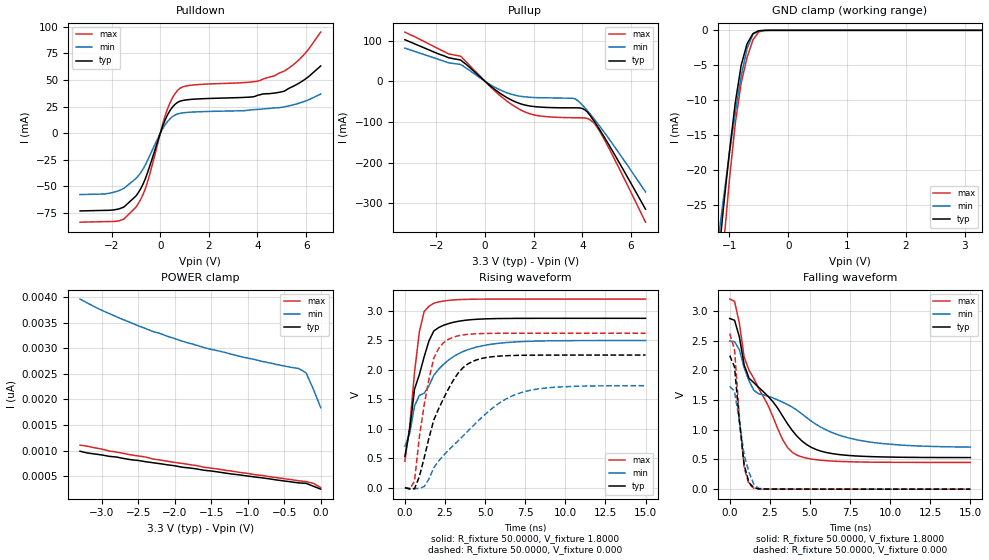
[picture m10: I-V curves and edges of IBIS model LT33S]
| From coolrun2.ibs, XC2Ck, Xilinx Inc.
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|   Model LT33S
[Model]   LT33S
Model_type   I/O
Polarity   Inverting
Enable   Active-High
Vinl =   0.8000V
Vinh =   2.0000V
Vmeas =   1.650V
Cref =  35.0000pF
Rref =  138.000
Vref =  1.65000V
C_comp   1.4810pF   0.9482pF   2.0140pF
[Temperature Range]   25.0000   100.0000   0.000
[Voltage Range]   3.3000V   3.0000V   3.6000V
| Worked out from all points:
|   slope of the pulldown table from 0 to 0.495 V, typ, clamps not added: 20.3 ohm
|   slope of the pullup table from 0 to 0.495 V, typ, clamps not added: 20.4 ohm
|   GND clamp passes 1 mA (typ) near -0.64 V on its own axis
|   rising waveform, R_fixture 50.0000, V_fixture 1.8000: 20-80 % time 1.1ns typ, 2.21ns min, 631ps max; typ from 0.53 V to 2.87 V
|   rising waveform, R_fixture 50.0000, V_fixture 0.000: 20-80 % time 1.82ns typ, 3.8ns min, 949ps max; typ from 0 V to 2.25 V
|   falling waveform, R_fixture 50.0000, V_fixture 1.8000: 20-80 % time 3.16ns typ, 4.74ns min, 2.34ns max; typ from 2.87 V to 0.531 V
|   falling waveform, R_fixture 50.0000, V_fixture 0.000: 20-80 % time 497ps typ, 680ps min, 475ps max; typ from 2.25 V to 0 V
[Pulldown]
| voltage   I(typ)   I(min)   I(max)
-3.3V     -73.1mA    -57.7mA    -83.7mA
-1.7V     -71.23mA   -54.06mA   -82.48mA
-1V       -59.06mA   -42.61mA   -69.57mA
-600mV    -41.98mA   -29.23mA   -51.26mA
200mV     12.46mA    7.971mA    16.42mA
500mV     24.55mA    15.52mA    33.24mA
800mV     29.99mA    18.63mA    42.11mA
1.4V      32.04mA    19.98mA    45.47mA
3.9V      34.63mA    22.25mA    48.65mA
4.7V      37.76mA    23.79mA    54.04mA
5.7V      46.96mA    28.16mA    68.92mA
6.6V      63.26mA    36.81mA    95.13mA
[Pullup]
| voltage   I(typ)   I(min)   I(max)
-3.3V     102.4mA    81.77mA    121.1mA
-1.5V     57.98mA    45.61mA    67.4mA
-1V       52.38mA    41.47mA    61.79mA
500mV     -24.45mA   -17.68mA   -29.09mA
1.6V      -57.66mA   -37.83mA   -74.18mA
2.3V      -63.4mA    -40.27mA   -85.4mA
3.7V      -65.08mA   -42.95mA   -89.51mA
4V        -66.81mA   -58.1mA    -89.7mA
4.3V      -82.26mA   -78.48mA   -93.71mA
4.5V      -99.05mA   -93.36mA   -103.2mA
4.9V      -136.8mA   -125.1mA   -142.5mA
6.6V      -314.3mA   -271.7mA   -346.3mA
[GND_clamp]
| voltage   I(typ)   I(min)   I(max)
-3.3V     -239.9mA   -199.5mA   -278.2mA
-1.2V     -33.67mA   -30.61mA   -40.86mA
-1.1V     -25.24mA   -23.93mA   -30.78mA
-1V       -17.33mA   -17.6mA    -21.32mA
-900mV    -10.3mA    -11.71mA   -13.24mA
-800mV    -4.97mA    -6.519mA   -7.512mA
-700mV    -1.912mA   -2.589mA   -3.865mA
-600mV    -461.7uA   -562.5uA   -1.358mA
-500mV    -51.63uA   -96.01uA   -215.1uA
-400mV    -3.51uA    -19.18uA   -14.58uA
3.3V      246.2pA    2.6nA      222.9pA
[POWER_clamp]
| voltage   I(typ)   I(min)   I(max)
-3.3V     989.4pA    3.96nA     1.108nA
-3V       917.4pA    3.739nA    1.031nA
-2.7V     846.9pA    3.554nA    946.5pA
-2.4V     785.1pA    3.384nA    876.5pA
-2.3V     765.2pA    3.326nA    837.6pA
-1.9V     677.6pA    3.138nA    752.4pA
-1.6V     618.2pA    3.013nA    677.8pA
-1.1V     525.1pA    2.838nA    574.3pA
-300mV    371.4pA    2.604nA    412.5pA
-200mV    362.5pA    2.519nA    396.3pA
-100mV    306pA      2.2nA      363.2pA
0V        249.2pA    1.841nA    278.5pA
[Ramp]
| variable   typ   min   max
dV/dt_r   1.3482/1.8799n   1.0368/3.7963n   1.5702/0.8881n
dV/dt_f   0.9702/3.0171n   0.6066/3.9098n   1.3596/2.6389n
R_load = 50.0000
[Rising Waveform]
R_fixture = 50.0000
V_fixture = 1.8000
V_fixture_min = 1.6000
V_fixture_max = 2.0000
L_fixture = 0.000H
C_fixture = 0.000F
| time   V(typ)   V(min)   V(max)
0s        530.2mV    699.7mV    449.2mV
300ps     989.5mV    920.5mV    1.048V
600ps     1.669V     1.381V     1.951V
900ps     1.915V     1.564V     2.639V
1.2ns     2.217V     1.6V       2.984V
1.5ns     2.486V     1.726V     3.073V
1.8ns     2.655V     1.903V     3.124V
2.7ns     2.778V     2.157V     3.172V
4.8ns     2.857V     2.402V     3.194V
15ns      2.869V     2.493V     3.195V
[Rising Waveform]
R_fixture = 50.0000
V_fixture = 0.000
V_fixture_min = 0.000
V_fixture_max = 0.000
L_fixture = 0.000H
C_fixture = 0.000F
| time   V(typ)   V(min)   V(max)
0s        492.2uV    354.2uV    530.5uV
300ps     -18.94mV   -11.89mV   -24.55mV
600ps     -16.3mV    -16.34mV   113.9mV
900ps     186.6mV    -10.29mV   852mV
1.2ns     503.7mV    19.4mV     1.399V
1.8ns     1.146V     336.8mV    2.195V
2.7ns     1.667V     629.8mV    2.512V
4.2ns     2.137V     1.033V     2.603V
7.2ns     2.243V     1.607V     2.616V
15ns      2.247V     1.728V     2.617V
[Falling Waveform]
R_fixture = 50.0000
V_fixture = 1.8000
V_fixture_min = 1.6000
V_fixture_max = 2.0000
L_fixture = 0.000H
C_fixture = 0.000F
| time   V(typ)   V(min)   V(max)
0s        2.87V      2.494V     3.197V
300ps     2.841V     2.481V     3.16V
600ps     2.562V     2.348V     2.792V
900ps     2.09V      2.042V     2.222V
1.2ns     1.867V     1.822V     2.001V
1.8ns     1.714V     1.606V     1.696V
3.9ns     985.8mV    1.379V     619mV
5.4ns     665.3mV    1.087V     494.8mV
7.8ns     559.7mV    837.5mV    458.9mV
15ns      531.4mV    707.5mV    449.7mV
[Falling Waveform]
R_fixture = 50.0000
V_fixture = 0.000
V_fixture_min = 0.000
V_fixture_max = 0.000
L_fixture = 0.000H
C_fixture = 0.000F
| time   V(typ)   V(min)   V(max)
0s        2.247V     1.73V      2.618V
300ps     2.056V     1.644V     2.347V
600ps     1.151V     1.148V     1.215V
900ps     407.1mV    574.2mV    356.3mV
1.2ns     109.2mV    285.9mV    84.37mV
1.5ns     25.84mV    82.4mV     15.52mV
1.8ns     5.605mV    13.62mV    3.153mV
2.4ns     1.757mV    2.94mV     1.625mV
15ns      2.746uV    15.37uV    1.24uV
